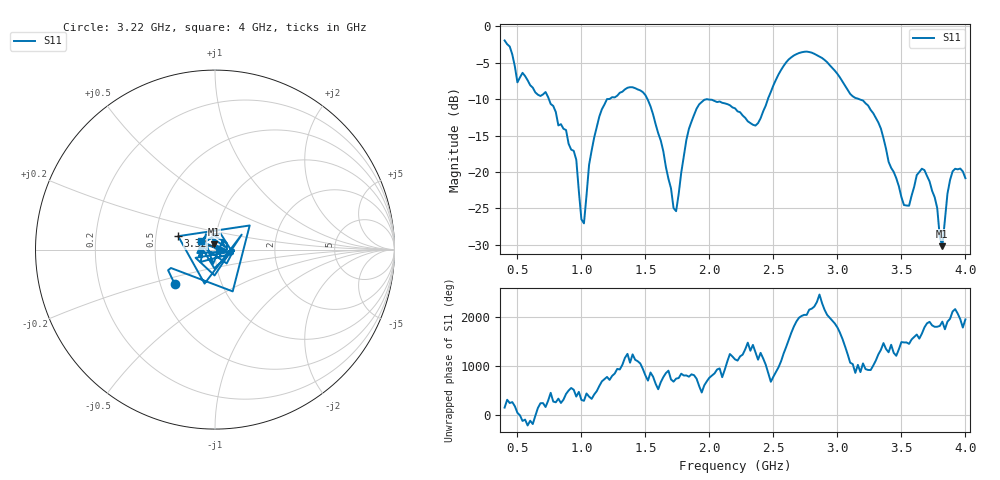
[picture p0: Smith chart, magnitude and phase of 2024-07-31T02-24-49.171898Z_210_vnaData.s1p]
!Created with skrf (http://scikit-rf.org).
# Hz S RI R 50.0
!freq ReS11 ImS11
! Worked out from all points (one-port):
!   181 points, 400 MHz to 4 GHz, reference 50 ohm
!   lowest |S11| = -30.2 dB at 3.82 GHz (marker M1), VSWR 1.06, Z = 49.1 + j2.94 ohm
!   |S11| at or under -10 dB: 745.6 MHz to 1.214 GHz (468 MHz wide, 47.8 % of centre); 1.516 GHz to 2.457 GHz (941.5 MHz wide, 47.4 % of centre); 3.167 GHz to end of sweep
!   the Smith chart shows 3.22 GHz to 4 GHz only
!   S11 on the Smith chart (normalised r, x): 3.22 GHz: 0.59, -0.25; 3.32 GHz: 0.65, +0.10; 4 GHz: 0.85, +0.08
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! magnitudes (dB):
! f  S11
! 400 MHz  -2.0
! 500 MHz  -7.7
! 720 MHz  -9.0
! 860 MHz  -14.1
! 960 MHz  -18.3
! 1 GHz  -26.5
! 1.02 GHz  -27.0
! 1.06 GHz  -19.0
! 1.14 GHz  -12.4
! 1.3 GHz  -9.1
! 1.5 GHz  -9.5
! 1.72 GHz  -25.0
! 1.76 GHz  -23.0
! 1.82 GHz  -15.6
! 1.92 GHz  -10.7
! 2.2 GHz  -11.3
! 2.36 GHz  -13.6
! 2.66 GHz  -4.0
! 2.88 GHz  -4.4
! 3.1 GHz  -9.3
! 3.22 GHz  -10.6
! 3.32 GHz  -13.2
! 3.56 GHz  -24.6
! 3.68 GHz  -19.7
! 3.78 GHz  -25.0
! 3.82 GHz  -30.2
! 3.9 GHz  -19.9
! 4 GHz  -20.9
